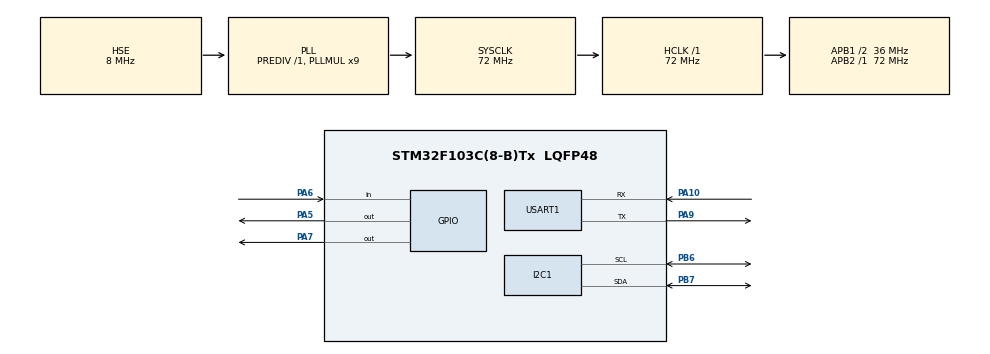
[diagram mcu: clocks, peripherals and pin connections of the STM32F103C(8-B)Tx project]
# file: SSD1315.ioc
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I2C1.I2C_Mode=I2C_Fast
Mcu.Family=STM32F1
Mcu.Name=STM32F103C(8-B)Tx
Mcu.Package=LQFP48
NVIC.PriorityGroup=NVIC_PRIORITYGROUP_4
NVIC.TIM2_IRQn=true\:2\:0\:true\:false\:true\:true\:true\:true
PA10.Mode=Asynchronous
PA10.Signal=USART1_RX
PA13.Mode=Serial_Wire
PA13.Signal=SYS_JTMS-SWDIO
PA14.Mode=Serial_Wire
PA14.Signal=SYS_JTCK-SWCLK
PA5.Signal=GPIO_Output
PA6.Signal=GPIO_Input
PA7.Signal=GPIO_Output
PA9.Mode=Asynchronous
PA9.Signal=USART1_TX
PB6.Mode=I2C
PB6.Signal=I2C1_SCL
PB7.Mode=I2C
PB7.Signal=I2C1_SDA
PD0-OSC_IN.Mode=HSE-External-Oscillator
PD0-OSC_IN.Signal=RCC_OSC_IN
PD1-OSC_OUT.Mode=HSE-External-Oscillator
PD1-OSC_OUT.Signal=RCC_OSC_OUT
ProjectManager.HeapSize=0x200
ProjectManager.StackSize=0x400
ProjectManager.TargetToolchain=MDK-ARM V5.32
RCC.AHBFreq_Value=72000000
RCC.APB1CLKDivider=RCC_HCLK_DIV2
RCC.APB1Freq_Value=36000000
RCC.APB1TimFreq_Value=72000000
RCC.APB2Freq_Value=72000000
RCC.APB2TimFreq_Value=72000000
RCC.HCLKFreq_Value=72000000
RCC.PLLMUL=RCC_PLL_MUL9
RCC.PLLSourceVirtual=RCC_PLLSOURCE_HSE
RCC.SYSCLKFreq_VALUE=72000000
RCC.SYSCLKSource=RCC_SYSCLKSOURCE_PLLCLK
RCC.USBFreq_Value=72000000
TIM2.Period=99
TIM2.Prescaler=7199
TIM3.Prescaler=71
USART1.VirtualMode=VM_ASYNC
VP_TIM2_VS_ClockSourceINT.Mode=Internal
VP_TIM3_VS_ClockSourceINT.Mode=Internal
board=custom

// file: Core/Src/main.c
/* USER CODE BEGIN Header */
/**
  ******************************************************************************
  * @file           : main.c
  * @brief          : Main program body
  ******************************************************************************
  * @attention
  *
  * Copyright (c) 2026 STMicroelectronics.
  * All rights reserved.
  *
  * This software is licensed under terms that can be found in the LICENSE file
  * in the root directory of this software component.
  * If no LICENSE file comes with this software, it is provided AS-IS.
  *
  ******************************************************************************
  */
/* USER CODE END Header */
#include "main.h"
#include "i2c.h"
#include "tim.h"
#include "usart.h"
#include "gpio.h"

/* USER CODE BEGIN Includes */
#include "ssd1315.h"
/* USER CODE END Includes */

void SystemClock_Config(void);

/* USER CODE BEGIN 0 */

#define SRF05_TRIG_PORT GPIOA
#define SRF05_TRIG_PIN  GPIO_PIN_5

#define SRF05_ECHO_PORT GPIOA
#define SRF05_ECHO_PIN  GPIO_PIN_6

uint8_t oled_buf[1024];

volatile uint8_t flag = 0;

float distance = 0.0f;

void HAL_TIM_PeriodElapsedCallback(TIM_HandleTypeDef *htim)
{
    if (htim->Instance == TIM2) {
        flag = 1;
    }
}

void Draw1(char* str){
    ClearRegion(oled_buf, 0, 10, 128, 48);
    uint8_t text_width = (uint8_t)strlen(str) * 6;
    uint8_t x = (128 - text_width) / 2;

    DrawRectangle(oled_buf, x - 5, 25, text_width + 10, 15);
    DrawString(oled_buf, x, 30, str);
}

void Delay_us(uint16_t us) {
    __HAL_TIM_SET_COUNTER(&htim3, 0);
    while (__HAL_TIM_GET_COUNTER(&htim3) < us);
}

void SRF05_Trigger(void)
{
    HAL_GPIO_WritePin(SRF05_TRIG_PORT, SRF05_TRIG_PIN, 0);
    Delay_us(2);

    HAL_GPIO_WritePin(SRF05_TRIG_PORT, SRF05_TRIG_PIN, 1);
    Delay_us(10);

    HAL_GPIO_WritePin(SRF05_TRIG_PORT, SRF05_TRIG_PIN, 0);
}
uint32_t elapsed;
float GetDistance() {
    elapsed  = 0;
    uint32_t timeout = 30000; // 30ms

    SRF05_Trigger();

    // ECHO -> HIGH
		// wait gpio high -> bat dau do
    while(HAL_GPIO_ReadPin(SRF05_ECHO_PORT, SRF05_ECHO_PIN) == 0) {
        if(--timeout == 0) return 0;
    }

		// reset counter
    __HAL_TIM_SET_COUNTER(&htim3, 0);

    // 3. ECHO -> LOW
		// wait gpio low -> ket thuc do
    while (HAL_GPIO_ReadPin(SRF05_ECHO_PORT, SRF05_ECHO_PIN) == 1) {
        if (__HAL_TIM_GET_COUNTER(&htim3) > 30000) return 0; // Qu� xa (> 5 m�t)
    }

    // ECHO LOW => lay thoi gian tu counter
     elapsed  = __HAL_TIM_GET_COUNTER(&htim3);

		// V = 34.3 m/s = 34300 cm/s
		// 1s = 1,000,000 microsecond
		// => V = 0.034 cm/microsecond
		// chia 2 vi tinh 2 quang duong di + ve
    return (float)elapsed  * (34300.0f / 1000000.0f) / 2 ;
}

/* USER CODE END 0 */

int main(void)
{

  /* MCU Configuration--------------------------------------------------------*/

  /* Reset of all peripherals, Initializes the Flash interface and the Systick. */
  HAL_Init();

  /* Configure the system clock */
  SystemClock_Config();

  /* Initialize all configured peripherals */
  MX_GPIO_Init();
  MX_I2C1_Init();
  MX_TIM2_Init();
  MX_TIM3_Init();
  MX_USART1_UART_Init();
  /* USER CODE BEGIN 2 */
	HAL_TIM_Base_Start_IT(&htim2);
	HAL_TIM_Base_Start(&htim3);

	SSD1315_Init();
  SSD1315_Clear();

  memset(oled_buf, 0x00, sizeof(oled_buf));
	//DrawTriangle(oled_buf, 35, 12, 35, 56, 93, 39);

  /* USER CODE END 2 */

  /* Infinite loop */
  while (1)
  {

    /* USER CODE BEGIN 3 */
		distance = GetDistance();
    if(distance <= 5.0f){
			HAL_GPIO_WritePin(GPIOA, GPIO_PIN_7, 1);
		} else {
			HAL_GPIO_WritePin(GPIOA, GPIO_PIN_7, 0);
		}
    char text[20];
    sprintf(text, "%.1f cm\n", distance);
    Draw1(text);
    if (flag) {
      flag = 0;
      SSD1315_Update(oled_buf);
			HAL_UART_Transmit(&huart1, (uint8_t*)text, strlen(text), 100);
    }

    HAL_Delay(60);
  }
  /* USER CODE END 3 */
}

void SystemClock_Config(void)
{
  RCC_OscInitTypeDef RCC_OscInitStruct = {0};
  RCC_ClkInitTypeDef RCC_ClkInitStruct = {0};

  /** Initializes the RCC Oscillators according to the specified parameters
  * in the RCC_OscInitTypeDef structure.
  */
  RCC_OscInitStruct.OscillatorType = RCC_OSCILLATORTYPE_HSE;
  RCC_OscInitStruct.HSEState = RCC_HSE_ON;
  RCC_OscInitStruct.HSEPredivValue = RCC_HSE_PREDIV_DIV1;
  RCC_OscInitStruct.HSIState = RCC_HSI_ON;
  RCC_OscInitStruct.PLL.PLLState = RCC_PLL_ON;
  RCC_OscInitStruct.PLL.PLLSource = RCC_PLLSOURCE_HSE;
  RCC_OscInitStruct.PLL.PLLMUL = RCC_PLL_MUL9;
  if (HAL_RCC_OscConfig(&RCC_OscInitStruct) != HAL_OK)
  {
    Error_Handler();
  }

  /** Initializes the CPU, AHB and APB buses clocks
  */
  RCC_ClkInitStruct.ClockType = RCC_CLOCKTYPE_HCLK|RCC_CLOCKTYPE_SYSCLK
                              |RCC_CLOCKTYPE_PCLK1|RCC_CLOCKTYPE_PCLK2;
  RCC_ClkInitStruct.SYSCLKSource = RCC_SYSCLKSOURCE_PLLCLK;
  RCC_ClkInitStruct.AHBCLKDivider = RCC_SYSCLK_DIV1;
  RCC_ClkInitStruct.APB1CLKDivider = RCC_HCLK_DIV2;
  RCC_ClkInitStruct.APB2CLKDivider = RCC_HCLK_DIV1;

  if (HAL_RCC_ClockConfig(&RCC_ClkInitStruct, FLASH_LATENCY_2) != HAL_OK)
  {
    Error_Handler();
  }
}

void Error_Handler(void)
{
  __disable_irq();
  while (1)
  {
  }
}
